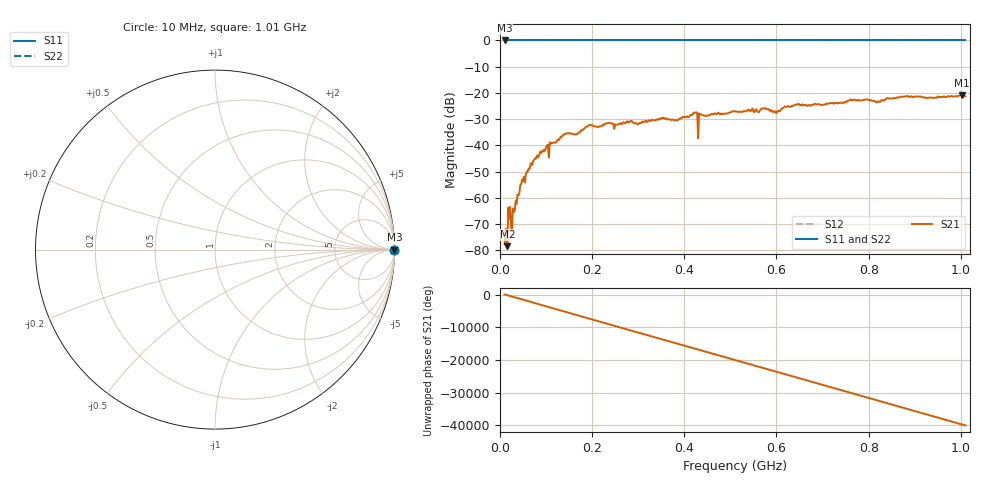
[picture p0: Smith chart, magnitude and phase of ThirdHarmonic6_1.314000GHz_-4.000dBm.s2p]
! 8/16/2025 2:33:13 PM
! C:\ANRITSUVNA\TEMP\TEMP.S2P
! CHANNEL.1
! TR.MEASUREMENT
! RAW.DATA
! RF.CORRECTION.OFF
! AVERAGING.OFF
! IF.BANDWIDTH: 5KHZ
! SWEEPTYPE:  FREQ.SWEEP(Linear)
! Reference Plane Port Info
! PORT:  PORT1  PORT2
! DISTANCE:  0  m  0  m
! TIME:  0  s  0  s
! PHASE.OFFSET:  0  deg.  0  deg.
! LOSS:  0  dB  0  dB
! REF.LOSS:  0  dB  0  dB
! REF.FREQ:  0  Hz  0  Hz
! Power Info
! POWER:  -20  dBm  -20  dBm
! EFF.POWER:  -20  dBm  -20  dBm
! SOURCE.ATTEN:  0  dB  0  dB
! TEST.ATTEN:  0  dB  0  dB
# GHZ S RI R 50.0
! FREQ.GHZ  S11RE  S11IM  S21RE  S21IM  S12RE  S12IM  S22RE  S22IM
!; PortSelection: Port_12
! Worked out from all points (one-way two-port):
!   501 points, 10 MHz to 1.01 GHz, reference 50 ohm
!   highest |S21| = -20.85 dB at 1.002 GHz (marker M1); lowest = -78.4 dB at 16 MHz (marker M2)
!   lowest |S11| = 0.0 dB at 10 MHz (marker M3)
!   |S11| at or under -10 dB: nowhere
!   |S22| runs from 0.0 to 0.0 dB; largest |S21 - S12| = 1.1
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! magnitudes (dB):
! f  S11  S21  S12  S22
! 10 MHz  0.0  -77.6  0.0  0.0
! 12 MHz  0.0  -71.8  0.0  0.0
! 16 MHz  0.0  -78.4  0.0  0.0
! 22 MHz  0.0  -63.5  0.0  0.0
! 28 MHz  0.0  -64.0  0.0  0.0
! 48 MHz  0.0  -53.1  0.0  0.0
! 76 MHz  0.0  -45.1  0.0  0.0
! 140 MHz  0.0  -35.7  0.0  0.0
! 178 MHz  0.0  -34.2  0.0  0.0
! 196 MHz  0.0  -32.2  0.0  0.0
! 344 MHz  0.0  -30.2  0.0  0.0
! 382 MHz  0.0  -30.4  0.0  0.0
! 424 MHz  0.0  -27.5  0.0  0.0
! 426 MHz  0.0  -27.4  0.0  0.0
! 434 MHz  0.0  -27.9  0.0  0.0
! 436 MHz  0.0  -28.2  0.0  0.0
! 510 MHz  0.0  -27.0  0.0  0.0
! 596 MHz  0.0  -26.9  0.0  0.0
! 678 MHz  0.0  -24.7  0.0  0.0
! 844 MHz  0.0  -22.1  0.0  0.0
! 1.002 GHz  0.0  -20.8  0.0  0.0
! 1.01 GHz  0.0  -21.3  0.0  0.0
